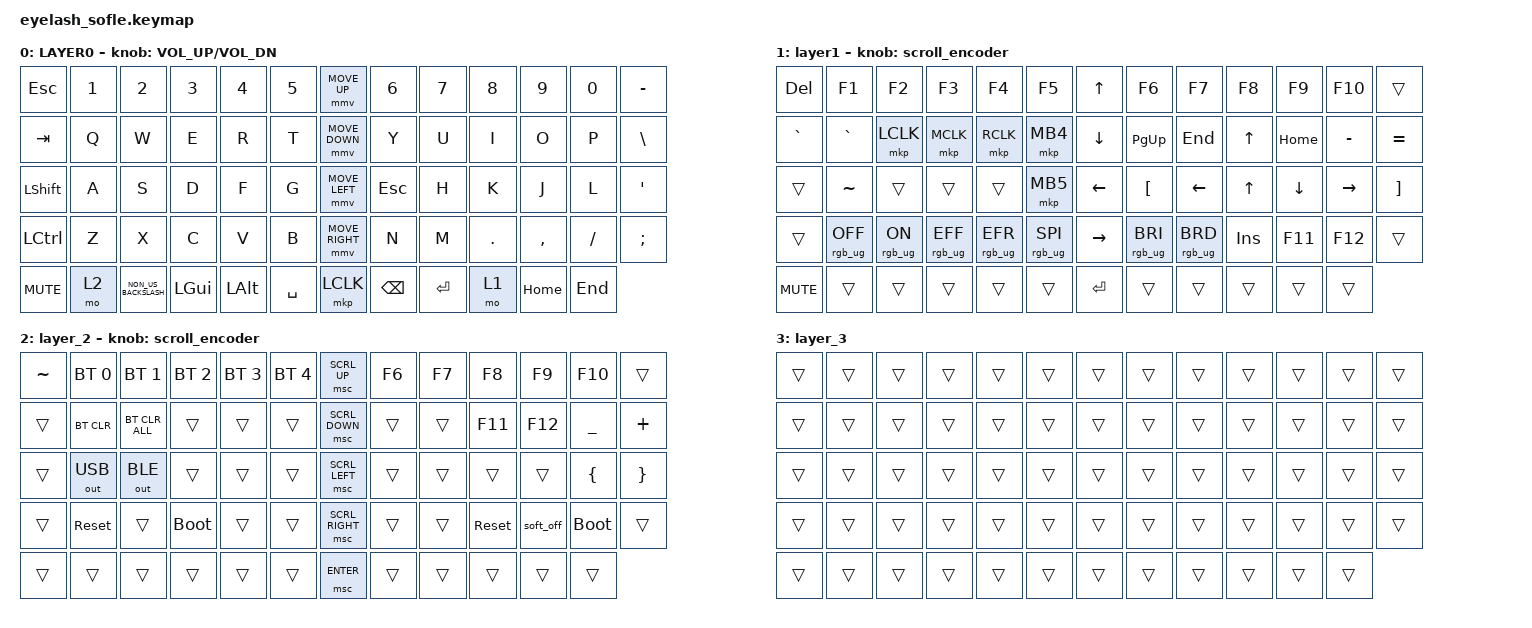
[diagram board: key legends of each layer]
#define ZMK_POINTING_DEFAULT_MOVE_VAL 1200  // 600
#define ZMK_POINTING_DEFAULT_SCRL_VAL 25   // 10

#include <input/processors.dtsi>
#include <zephyr/dt-bindings/input/input-event-codes.h>
#include <behaviors.dtsi>
#include <dt-bindings/zmk/bt.h>
#include <dt-bindings/zmk/ext_power.h>
#include <dt-bindings/zmk/keys.h>
#include <dt-bindings/zmk/pointing.h>
#include <dt-bindings/zmk/rgb.h>
#include <dt-bindings/zmk/outputs.h>

&mmv_input_listener { input-processors = <&zip_xy_scaler 2 1>; };

&msc_input_listener { input-processors = <&zip_scroll_scaler 2 1>; };

&msc {
    acceleration-exponent = <1>;      // 0
    time-to-max-speed-ms = <100>;       // 300
    delay-ms = <0>;                   // 0
};

&mmv {
    time-to-max-speed-ms = <500>;
    acceleration-exponent = <2>;
    trigger-period-ms = <16>;
};


/ {

    scroll_encoder: scroll_encoder {
        compatible = "zmk,behavior-sensor-rotate";
        #sensor-binding-cells = <0>;
        bindings = <&msc SCRL_DOWN>, <&msc SCRL_UP>;
        tap-ms = <100>;
    };

    keymap {
        compatible = "zmk,keymap";

        layer0 {
            bindings = <
&kp ESC     &kp N1  &kp N2                  &kp N3        &kp N4         &kp N5       &mmv MOVE_UP     &kp N6         &kp N7     &kp N8    &kp N9       &kp N0      &kp MINUS
&kp TAB     &kp Q   &kp W                   &kp E         &kp R          &kp T        &mmv MOVE_DOWN   &kp Y          &kp U      &kp I     &kp O        &kp P       &kp BSLH
&kp LSHFT   &kp A   &kp S                   &kp D         &kp F          &kp G        &mmv MOVE_LEFT   &kp ESC        &kp H      &kp K     &kp J        &kp L       &kp APOS
&kp LCTRL   &kp Z   &kp X                   &kp C         &kp V          &kp B        &mmv MOVE_RIGHT  &kp N          &kp M      &kp DOT   &kp COMMA    &kp FSLH    &kp SEMI
&kp C_MUTE  &mo 2   &kp NON_US_BACKSLASH    &kp LEFT_GUI  &kp LEFT_ALT   &kp SPACE    &mkp LCLK        &kp BACKSPACE  &kp ENTER  &mo 1     &kp HOME     &kp END
            >;

            sensor-bindings = <&inc_dec_kp C_VOLUME_UP C_VOL_DN>;
            display-name = "LAYER0";
        };

        layer_1 {
            bindings = <
&kp DEL     &kp F1           &kp F2          &kp F3           &kp F4           &kp F5             &kp UP_ARROW     &kp F6           &kp F7           &kp F8      &kp F9     &kp F10           &trans
&kp GRAVE   &kp GRAVE        &mkp LCLK       &mkp MCLK        &mkp RCLK        &mkp MB4           &kp DOWN_ARROW   &kp PG_UP        &kp END          &kp UP      &kp HOME   &kp MINUS         &kp EQUAL
&trans      &kp TILDE        &trans          &trans           &trans           &mkp MB5           &kp LEFT_ARROW   &kp LEFT_BRACKET &kp LEFT         &kp UP      &kp DOWN   &kp RIGHT         &kp RIGHT_BRACKET
&trans      &rgb_ug RGB_OFF  &rgb_ug RGB_ON  &rgb_ug RGB_EFF  &rgb_ug RGB_EFR  &rgb_ug RGB_SPI    &kp RIGHT_ARROW  &rgb_ug RGB_BRI  &rgb_ug RGB_BRD  &kp INSERT  &kp F11    &kp F12           &trans
&kp C_MUTE  &trans           &trans          &trans           &trans           &trans             &kp ENTER        &trans           &trans           &trans      &trans     &trans
            >;

            display-name = "layer1";
            sensor-bindings = <&scroll_encoder>;
        };

        layer_2 {
            bindings = <
&kp TILDE  &bt BT_SEL 0  &bt BT_SEL 1    &bt BT_SEL 2  &bt BT_SEL 3  &bt BT_SEL 4    &msc SCRL_UP     &kp F6  &kp F7  &kp F8      &kp F9     &kp F10      &trans
&trans     &bt BT_CLR    &bt BT_CLR_ALL  &trans        &trans        &trans          &msc SCRL_DOWN   &trans  &trans  &kp F11     &kp F12    &kp UNDER    &kp PLUS
&trans     &out OUT_USB  &out OUT_BLE    &trans        &trans        &trans          &msc SCRL_LEFT   &trans  &trans  &trans      &trans     &kp LBRC     &kp RBRC
&trans     &sys_reset    &trans          &bootloader   &trans        &trans          &msc SCRL_RIGHT  &trans  &trans  &sys_reset  &soft_off  &bootloader  &trans
&trans     &trans        &trans          &trans        &trans        &trans          &msc ENTER       &trans  &trans  &trans      &trans     &trans
            >;

            sensor-bindings = <&scroll_encoder>;
        };

        layer_3 {
            bindings = <
&trans  &trans  &trans  &trans  &trans  &trans    &trans  &trans  &trans  &trans  &trans  &trans  &trans
&trans  &trans  &trans  &trans  &trans  &trans    &trans  &trans  &trans  &trans  &trans  &trans  &trans
&trans  &trans  &trans  &trans  &trans  &trans    &trans  &trans  &trans  &trans  &trans  &trans  &trans
&trans  &trans  &trans  &trans  &trans  &trans    &trans  &trans  &trans  &trans  &trans  &trans  &trans
&trans  &trans  &trans  &trans  &trans  &trans    &trans  &trans  &trans  &trans  &trans  &trans
            >;
        };
    };
};
